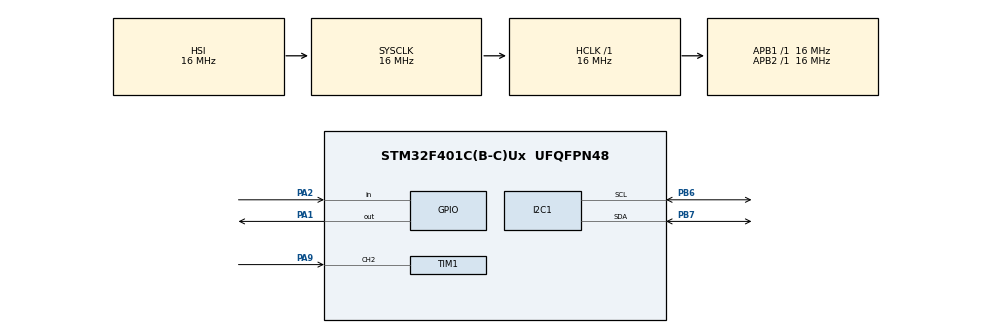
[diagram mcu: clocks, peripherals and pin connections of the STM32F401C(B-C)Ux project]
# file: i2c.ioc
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FREERTOS.Mutexes01=I2CMutex,Dynamic,NULL,Available
FREERTOS.Tasks01=defaultTask,0,128,StartDefaultTask,Default,NULL,Dynamic,NULL,NULL;Ir_Read_Task,0,128,Ir_Task_Start,Default,NULL,Dynamic,NULL,NULL;I2CSend_Task,0,128,I2CSend_Task_Start,Default,NULL,Dynamic,NULL,NULL
FREERTOS.configUSE_NEWLIB_REENTRANT=1
I2C1.DualAddressMode=I2C_DUALADDRESS_DISABLE
I2C1.OwnAddress=0x10
Mcu.Family=STM32F4
Mcu.Name=STM32F401C(B-C)Ux
Mcu.Package=UFQFPN48
NVIC.I2C1_ER_IRQn=true\:5\:0\:false\:false\:true\:true\:true\:true\:true
NVIC.I2C1_EV_IRQn=true\:5\:0\:false\:false\:true\:true\:true\:true\:true
NVIC.PriorityGroup=NVIC_PRIORITYGROUP_4
NVIC.TIM1_CC_IRQn=true\:5\:0\:false\:false\:true\:true\:true\:true\:true
NVIC.TIM3_IRQn=true\:15\:0\:false\:false\:true\:false\:false\:true\:true
NVIC.TimeBase=TIM3_IRQn
NVIC.TimeBaseIP=TIM3
PA1.Signal=GPIO_Output
PA13.Mode=Serial_Wire
PA13.Signal=SYS_JTMS-SWDIO
PA14.Mode=Serial_Wire
PA14.Signal=SYS_JTCK-SWCLK
PA2.Signal=GPIO_Input
PA9.Signal=S_TIM1_CH2
PB6.Mode=I2C
PB6.Signal=I2C1_SCL
PB7.Mode=I2C
PB7.Signal=I2C1_SDA
PC14-OSC32_IN.Mode=LSE-External-Oscillator
PC14-OSC32_IN.Signal=RCC_OSC32_IN
PC15-OSC32_OUT.Mode=LSE-External-Oscillator
PC15-OSC32_OUT.Signal=RCC_OSC32_OUT
PH0\ -\ OSC_IN.Mode=HSE-External-Oscillator
PH0\ -\ OSC_IN.Signal=RCC_OSC_IN
PH1\ -\ OSC_OUT.Mode=HSE-External-Oscillator
PH1\ -\ OSC_OUT.Signal=RCC_OSC_OUT
ProjectManager.HeapSize=0x200
ProjectManager.StackSize=0x400
ProjectManager.TargetToolchain=STM32CubeIDE
RCC.AHBFreq_Value=16000000
RCC.APB1Freq_Value=16000000
RCC.APB2Freq_Value=16000000
RCC.CortexFreq_Value=16000000
RCC.HSE_VALUE=25000000
RCC.HSI_VALUE=16000000
RCC.SYSCLKFreq_VALUE=16000000
RCC.VCOOutputFreq_Value=192000000
SH.S_TIM1_CH2.0=TIM1_CH2,Input_Capture2_from_TI2
TIM1.Channel-Input_Capture2_from_TI2=TIM_CHANNEL_2
VP_FREERTOS_VS_CMSIS_V1.Mode=CMSIS_V1
VP_SYS_VS_tim3.Mode=TIM3
board=custom

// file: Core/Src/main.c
/* USER CODE BEGIN Header */
/**
  ******************************************************************************
  * @file           : main.c
  * @brief          : Main program body
  ******************************************************************************
  * @attention
  *
  * Copyright (c) 2025 STMicroelectronics.
  * All rights reserved.
  *
  * This software is licensed under terms that can be found in the LICENSE file
  * in the root directory of this software component.
  * If no LICENSE file comes with this software, it is provided AS-IS.
  *
  ***********************************************************
  ******************************************************************************
  */
/* USER CODE END Header */
#include "main.h"
#include "cmsis_os.h"

I2C_HandleTypeDef hi2c1;

TIM_HandleTypeDef htim1;

osThreadId defaultTaskHandle;
osThreadId Ir_Read_TaskHandle;
osThreadId I2CSend_TaskHandle;
osMutexId I2CMutexHandle;
/* USER CODE BEGIN PV */
#define TXBUFSIZE 1
volatile uint8_t rx_buf;
uint8_t tx_buf=0;

HAL_StatusTypeDef sig = 0x0;
void ResetI2C(I2C_HandleTypeDef* rev_i2c)
{
	HAL_I2C_DeInit(rev_i2c);
	HAL_I2C_Init(rev_i2c);
}

/* USER CODE END PV */

void SystemClock_Config(void);
static void MX_GPIO_Init(void);
static void MX_I2C1_Init(void);
static void MX_TIM1_Init(void);
void StartDefaultTask(void const * argument);
void Ir_Task_Start(void const * argument);
void I2CSend_Task_Start(void const * argument);

int main(void)
{

  /* MCU Configuration--------------------------------------------------------*/

  /* Reset of all peripherals, Initializes the Flash interface and the Systick. */
  HAL_Init();

  /* Configure the system clock */
  SystemClock_Config();

  /* Initialize all configured peripherals */
  MX_GPIO_Init();
  MX_I2C1_Init();
  MX_TIM1_Init();

  /* Create the mutex(es) */
  /* definition and creation of I2CMutex */
  osMutexDef(I2CMutex);
  I2CMutexHandle = osMutexCreate(osMutex(I2CMutex));

  /* Create the thread(s) */
  /* definition and creation of defaultTask */
  osThreadDef(defaultTask, StartDefaultTask, osPriorityNormal, 0, 128);
  defaultTaskHandle = osThreadCreate(osThread(defaultTask), NULL);

  /* definition and creation of Ir_Read_Task */
  osThreadDef(Ir_Read_Task, Ir_Task_Start, osPriorityNormal, 0, 128);
  Ir_Read_TaskHandle = osThreadCreate(osThread(Ir_Read_Task), NULL);

  /* definition and creation of I2CSend_Task */
  osThreadDef(I2CSend_Task, I2CSend_Task_Start, osPriorityNormal, 0, 128);
  I2CSend_TaskHandle = osThreadCreate(osThread(I2CSend_Task), NULL);

  /* Start scheduler */
  osKernelStart();

  /* We should never get here as control is now taken by the scheduler */

  /* Infinite loop */
  while (1)
  {

  }
}

void SystemClock_Config(void)
{
  RCC_OscInitTypeDef RCC_OscInitStruct = {0};
  RCC_ClkInitTypeDef RCC_ClkInitStruct = {0};

  /** Configure the main internal regulator output voltage
  */
  __HAL_RCC_PWR_CLK_ENABLE();
  __HAL_PWR_VOLTAGESCALING_CONFIG(PWR_REGULATOR_VOLTAGE_SCALE2);

  /** Initializes the RCC Oscillators according to the specified parameters
  * in the RCC_OscInitTypeDef structure.
  */
  RCC_OscInitStruct.OscillatorType = RCC_OSCILLATORTYPE_HSI;
  RCC_OscInitStruct.HSIState = RCC_HSI_ON;
  RCC_OscInitStruct.HSICalibrationValue = RCC_HSICALIBRATION_DEFAULT;
  RCC_OscInitStruct.PLL.PLLState = RCC_PLL_NONE;
  if (HAL_RCC_OscConfig(&RCC_OscInitStruct) != HAL_OK)
  {
    Error_Handler();
  }

  /** Initializes the CPU, AHB and APB buses clocks
  */
  RCC_ClkInitStruct.ClockType = RCC_CLOCKTYPE_HCLK|RCC_CLOCKTYPE_SYSCLK
                              |RCC_CLOCKTYPE_PCLK1|RCC_CLOCKTYPE_PCLK2;
  RCC_ClkInitStruct.SYSCLKSource = RCC_SYSCLKSOURCE_HSI;
  RCC_ClkInitStruct.AHBCLKDivider = RCC_SYSCLK_DIV1;
  RCC_ClkInitStruct.APB1CLKDivider = RCC_HCLK_DIV1;
  RCC_ClkInitStruct.APB2CLKDivider = RCC_HCLK_DIV1;

  if (HAL_RCC_ClockConfig(&RCC_ClkInitStruct, FLASH_LATENCY_0) != HAL_OK)
  {
    Error_Handler();
  }
}

static void MX_I2C1_Init(void)
{

  hi2c1.Instance = I2C1;
  hi2c1.Init.ClockSpeed = 100000;
  hi2c1.Init.DutyCycle = I2C_DUTYCYCLE_2;
  hi2c1.Init.OwnAddress1 = 32;
  hi2c1.Init.AddressingMode = I2C_ADDRESSINGMODE_7BIT;
  hi2c1.Init.DualAddressMode = I2C_DUALADDRESS_DISABLE;
  hi2c1.Init.OwnAddress2 = 0;
  hi2c1.Init.GeneralCallMode = I2C_GENERALCALL_DISABLE;
  hi2c1.Init.NoStretchMode = I2C_NOSTRETCH_DISABLE;
  if (HAL_I2C_Init(&hi2c1) != HAL_OK)
  {
    Error_Handler();
  }

}

static void MX_TIM1_Init(void)
{

  TIM_MasterConfigTypeDef sMasterConfig = {0};
  TIM_IC_InitTypeDef sConfigIC = {0};

  htim1.Instance = TIM1;
  htim1.Init.Prescaler = 0;
  htim1.Init.CounterMode = TIM_COUNTERMODE_UP;
  htim1.Init.Period = 65535;
  htim1.Init.ClockDivision = TIM_CLOCKDIVISION_DIV1;
  htim1.Init.RepetitionCounter = 0;
  htim1.Init.AutoReloadPreload = TIM_AUTORELOAD_PRELOAD_DISABLE;
  if (HAL_TIM_IC_Init(&htim1) != HAL_OK)
  {
    Error_Handler();
  }
  sMasterConfig.MasterOutputTrigger = TIM_TRGO_RESET;
  sMasterConfig.MasterSlaveMode = TIM_MASTERSLAVEMODE_DISABLE;
  if (HAL_TIMEx_MasterConfigSynchronization(&htim1, &sMasterConfig) != HAL_OK)
  {
    Error_Handler();
  }
  sConfigIC.ICPolarity = TIM_INPUTCHANNELPOLARITY_RISING;
  sConfigIC.ICSelection = TIM_ICSELECTION_DIRECTTI;
  sConfigIC.ICPrescaler = TIM_ICPSC_DIV1;
  sConfigIC.ICFilter = 0;
  if (HAL_TIM_IC_ConfigChannel(&htim1, &sConfigIC, TIM_CHANNEL_2) != HAL_OK)
  {
    Error_Handler();
  }

}

static void MX_GPIO_Init(void)
{
  GPIO_InitTypeDef GPIO_InitStruct = {0};

  /* GPIO Ports Clock Enable */
  __HAL_RCC_GPIOC_CLK_ENABLE();
  __HAL_RCC_GPIOH_CLK_ENABLE();
  __HAL_RCC_GPIOA_CLK_ENABLE();
  __HAL_RCC_GPIOB_CLK_ENABLE();

  /*Configure GPIO pin Output Level */
  HAL_GPIO_WritePin(GPIOA, GPIO_PIN_1, GPIO_PIN_RESET);

  /*Configure GPIO pin : PA1 */
  GPIO_InitStruct.Pin = GPIO_PIN_1;
  GPIO_InitStruct.Mode = GPIO_MODE_OUTPUT_PP;
  GPIO_InitStruct.Pull = GPIO_NOPULL;
  GPIO_InitStruct.Speed = GPIO_SPEED_FREQ_LOW;
  HAL_GPIO_Init(GPIOA, &GPIO_InitStruct);

  /*Configure GPIO pin : PA2 */
  GPIO_InitStruct.Pin = GPIO_PIN_2;
  GPIO_InitStruct.Mode = GPIO_MODE_INPUT;
  GPIO_InitStruct.Pull = GPIO_NOPULL;
  HAL_GPIO_Init(GPIOA, &GPIO_InitStruct);

}

void StartDefaultTask(void const * argument)
{
  for(;;)
  {
    osDelay(1);
  }
}

/* USER CODE BEGIN Header_Ir_Task_Start */
/**
* @brie f Function implementing the Ir_Read_Task thread.
* @param argument: Not used
* @retval None
*/
/* USER CODE END Header_Ir_Task_Start */
//void Ir_Task_Start(void const * argument)
//{
//  /* USER CODE BEGIN Ir_Task_Start */
//  /* Infinite loop */
//  for(;;)
//  {
//    osDelay(1);
//  }
//  /* USER CODE END Ir_Task_Start */
//}

void Ir_Task_Start(void const * argument)
{
  HAL_TIM_IC_Start_IT(&htim1, TIM_CHANNEL_2);
  for(;;)
  {
	  xSemaphoreTake(I2CMutexHandle,portMAX_DELAY);
	  if(HAL_GPIO_ReadPin(GPIOA, GPIO_PIN_2))
	  {
		tx_buf=0;
	  }
	  else
	  {
		  tx_buf=1;
	  }
	  xSemaphoreGive(I2CMutexHandle);
    osDelay(20);
  }
  /* USER CODE END IRTask_Start */
}

//void I2CSend_Task_Start(void const * argument)
//{
//  /* USER CODE BEGIN I2CSend_Task_Start */
//  /* Infinite loop */
//  for(;;)
//  {
//    osDelay(1);
//  }
//  /* USER CODE END I2CSend_Task_Start */
//}

void I2CSend_Task_Start(void const * argument)
{
  /* USER CODE BEGIN I2CSendTask_Start */
  /* Infinite loop */
  for(;;)
  {
	if ((sig = HAL_I2C_Slave_Receive(&hi2c1, (uint8_t*)&rx_buf, TXBUFSIZE, 0xFFFFFFFF))!=HAL_OK)
	{
		ResetI2C(&hi2c1);
	}
	if ((sig == HAL_OK))
	{
		if((sig = HAL_I2C_Slave_Transmit(&hi2c1, (uint8_t*)&tx_buf, TXBUFSIZE, 0x01))!=HAL_OK)
		{
			ResetI2C(&hi2c1);
		}
		else if (rx_buf == 0x02)
		{
			rx_buf = 0;
			xSemaphoreTake(I2CMutexHandle,portMAX_DELAY);
			HAL_I2C_Slave_Transmit(&hi2c1, (uint8_t*)&tx_buf, TXBUFSIZE, 0x01);
			xSemaphoreGive(I2CMutexHandle);
		}
	}
    osDelay(20);
  }
  /* USER CODE END I2CSendTask_Start */
}

void HAL_TIM_PeriodElapsedCallback(TIM_HandleTypeDef *htim)
{
  if (htim->Instance == TIM3)
  {
    HAL_IncTick();
  }
}

void Error_Handler(void)
{
  __disable_irq();
  while (1)
  {
  }
}
